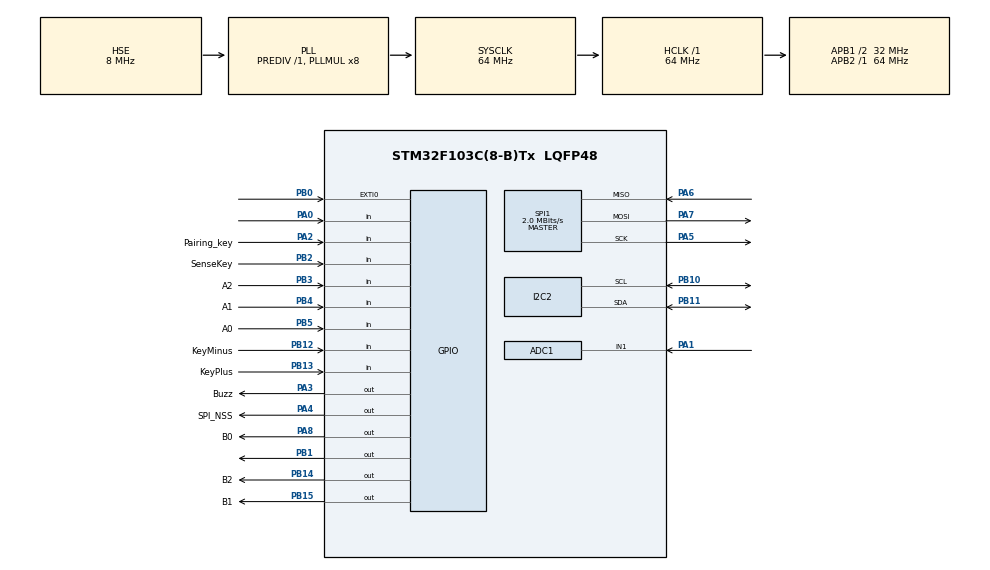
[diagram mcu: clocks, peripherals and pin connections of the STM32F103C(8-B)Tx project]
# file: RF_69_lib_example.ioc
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ADC1.Channel-2\#ChannelRegularConversion=ADC_CHANNEL_1
ADC1.ContinuousConvMode=ENABLE
ADC1.DataAlign=ADC_DATAALIGN_RIGHT
ADC1.DiscontinuousConvMode=DISABLE
ADC1.EnableAnalogWatchDog=false
ADC1.EnableRegularConversion=ENABLE
ADC1.ExternalTrigConv=ADC_SOFTWARE_START
ADC1.InjNumberOfConversion=0
ADC1.NbrOfConversion=1
ADC1.NbrOfConversionFlag=1
ADC1.Rank-2\#ChannelRegularConversion=1
ADC1.SamplingTime-2\#ChannelRegularConversion=ADC_SAMPLETIME_239CYCLES_5
ADC1.ScanConvMode=ADC_SCAN_DISABLE
ADC1.master=1
Dma.ADC1.0.Direction=DMA_PERIPH_TO_MEMORY
Dma.ADC1.0.Instance=DMA1_Channel1
Dma.ADC1.0.MemDataAlignment=DMA_MDATAALIGN_WORD
Dma.ADC1.0.MemInc=DMA_MINC_ENABLE
Dma.ADC1.0.Mode=DMA_CIRCULAR
Dma.ADC1.0.PeriphDataAlignment=DMA_PDATAALIGN_WORD
Dma.ADC1.0.PeriphInc=DMA_PINC_DISABLE
Dma.ADC1.0.Priority=DMA_PRIORITY_LOW
Dma.Request0=ADC1
Mcu.Family=STM32F1
Mcu.Name=STM32F103C(8-B)Tx
Mcu.Package=LQFP48
NVIC.DMA1_Channel1_IRQn=true\:0\:0\:false\:false\:true\:false
NVIC.EXTI0_IRQn=true\:0\:0\:false\:true\:true\:1\:true
NVIC.PriorityGroup=NVIC_PRIORITYGROUP_4
NVIC.SPI1_IRQn=true\:0\:0\:false\:false\:true\:true
PA0-WKUP.Signal=GPIO_Input
PA1.Signal=ADCx_IN1
PA13.Mode=Serial_Wire
PA13.Signal=SYS_JTMS-SWDIO
PA14.Mode=Serial_Wire
PA14.Signal=SYS_JTCK-SWCLK
PA2.GPIO_Label=Pairing_key
PA2.GPIO_PuPd=GPIO_PULLDOWN
PA2.Signal=GPIO_Input
PA3.GPIO_Label=Buzz
PA3.Signal=GPIO_Output
PA4.GPIO_Label=SPI_NSS
PA4.Signal=GPIO_Output
PA5.Mode=Full_Duplex_Master
PA5.Signal=SPI1_SCK
PA6.Mode=Full_Duplex_Master
PA6.Signal=SPI1_MISO
PA7.Mode=Full_Duplex_Master
PA7.Signal=SPI1_MOSI
PA8.GPIO_Label=B0
PA8.Signal=GPIO_Output
PB0.GPIO_ModeDefaultEXTI=GPIO_MODE_IT_RISING
PB0.GPIO_PuPd=GPIO_NOPULL
PB0.Signal=GPXTI0
PB1.Signal=GPIO_Output
PB10.Mode=I2C
PB10.Signal=I2C2_SCL
PB11.Mode=I2C
PB11.Signal=I2C2_SDA
PB12.GPIO_Label=KeyMinus
PB12.GPIO_PuPd=GPIO_PULLDOWN
PB12.Signal=GPIO_Input
PB13.GPIO_Label=KeyPlus
PB13.GPIO_PuPd=GPIO_PULLDOWN
PB13.Signal=GPIO_Input
PB14.GPIO_Label=B2
PB14.Signal=GPIO_Output
PB15.GPIO_Label=B1
PB15.Signal=GPIO_Output
PB2.GPIO_Label=SenseKey
PB2.GPIO_PuPd=GPIO_PULLDOWN
PB2.Signal=GPIO_Input
PB3.GPIO_Label=A2
PB3.GPIO_PuPd=GPIO_PULLDOWN
PB3.Signal=GPIO_Input
PB4.GPIO_Label=A1
PB4.GPIO_PuPd=GPIO_PULLDOWN
PB4.Signal=GPIO_Input
PB5.GPIO_Label=A0
PB5.GPIO_PuPd=GPIO_PULLDOWN
PB5.Signal=GPIO_Input
PD0-OSC_IN.Mode=HSE-External-Oscillator
PD0-OSC_IN.Signal=RCC_OSC_IN
PD1-OSC_OUT.Mode=HSE-External-Oscillator
PD1-OSC_OUT.Signal=RCC_OSC_OUT
ProjectManager.HeapSize=0x200
ProjectManager.StackSize=0x400
ProjectManager.TargetToolchain=SW4STM32
RCC.ADCPresc=RCC_ADCPCLK2_DIV6
RCC.AHBFreq_Value=64000000
RCC.APB1CLKDivider=RCC_HCLK_DIV2
RCC.APB1Freq_Value=32000000
RCC.APB1TimFreq_Value=64000000
RCC.APB2Freq_Value=64000000
RCC.APB2TimFreq_Value=64000000
RCC.EnbaleCSS=true
RCC.HCLKFreq_Value=64000000
RCC.HSICalibrationValue=8
RCC.PLLMUL=RCC_PLL_MUL8
RCC.PLLSourceVirtual=RCC_PLLSOURCE_HSE
RCC.SYSCLKFreq_VALUE=64000000
RCC.SYSCLKSource=RCC_SYSCLKSOURCE_PLLCLK
RCC.USBFreq_Value=64000000
SH.ADCx_IN1.0=ADC1_IN1,IN1
SPI1.BaudRatePrescaler=SPI_BAUDRATEPRESCALER_32
SPI1.CalculateBaudRate=2.0 MBits/s
SPI1.Direction=SPI_DIRECTION_2LINES
SPI1.Mode=SPI_MODE_MASTER
SPI1.VirtualType=VM_MASTER
board=custom

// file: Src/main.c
/**
  ******************************************************************************
  * @file           : main.c
  * @brief          : Main program body
  ******************************************************************************
  ** This notice applies to any and all portions of this file
  * that are not between comment pairs USER CODE BEGIN and
  * USER CODE END. Other portions of this file, whether
  * inserted by the user or by software development tools
  * are owned by their respective copyright owners.
  *
  * COPYRIGHT(c) 2020 STMicroelectronics
  *
  * Redistribution and use in source and binary forms, with or without modification,
  * are permitted provided that the following conditions are met:
  *   1. Redistributions of source code must retain the above copyright notice,
  *      this list of conditions and the following disclaimer.
  *   2. Redistributions in binary form must reproduce the above copyright notice,
  *      this list of conditions and the following disclaimer in the documentation
  *      and/or other materials provided with the distribution.
  *   3. Neither the name of STMicroelectronics nor the names of its contributors
  *      may be used to endorse or promote products derived from this software
  *      without specific prior written permission.
  *
  * THIS SOFTWARE IS PROVIDED BY THE COPYRIGHT HOLDERS AND CONTRIBUTORS "AS IS"
  * AND ANY EXPRESS OR IMPLIED WARRANTIES, INCLUDING, BUT NOT LIMITED TO, THE
  * IMPLIED WARRANTIES OF MERCHANTABILITY AND FITNESS FOR A PARTICULAR PURPOSE ARE
  * DISCLAIMED. IN NO EVENT SHALL THE COPYRIGHT HOLDER OR CONTRIBUTORS BE LIABLE
  * FOR ANY DIRECT, INDIRECT, INCIDENTAL, SPECIAL, EXEMPLARY, OR CONSEQUENTIAL
  * DAMAGES (INCLUDING, BUT NOT LIMITED TO, PROCUREMENT OF SUBSTITUTE GOODS OR
  * SERVICES; LOSS OF USE, DATA, OR PROFITS; OR BUSINESS INTERRUPTION) HOWEVER
  * CAUSED AND ON ANY THEORY OF LIABILITY, WHETHER IN CONTRACT, STRICT LIABILITY,
  * OR TORT (INCLUDING NEGLIGENCE OR OTHERWISE) ARISING IN ANY WAY OUT OF THE USE
  * OF THIS SOFTWARE, EVEN IF ADVISED OF THE POSSIBILITY OF SUCH DAMAGE.
  *
  ******************************************************************************
  */
#include "main.h"
#include "stm32f1xx_hal.h"

/* USER CODE BEGIN Includes */
#include <RFM69.h>
#include "ssd1306.h"
#include "fonts.h"
#include "fonts3.h"
#include <stdio.h>
#include "I2Cdev.h"
#include "MPU6050.h"
#include "keyboard.h"

#define ENCRYPTKEY	"sampleEncryptKey"

/* USER CODE END Includes */

ADC_HandleTypeDef hadc1;
DMA_HandleTypeDef hdma_adc1;

I2C_HandleTypeDef hi2c2;

SPI_HandleTypeDef hspi1;

/* USER CODE BEGIN PV */
/* Private variables ---------------------------------------------------------*/

char command_p[10]={"CM:"};
char id_p[10]={"id:"};
char status_p[10]={"st:"};
char remote_command_p[10]={"RC:"};
char data_power_p[11]={"V:"};
char data_1_p[10]={"Temp:"};
char data_2_p[10]={"Pres:"};
char data_3_p[10]={"Humi:"};
char data_4_p[10]={"RSSI:"};

typedef struct{
	uint8_t command;
	uint8_t id;
	uint8_t status;
	uint16_t remote_command;
	int16_t data_power;
	int16_t data_1;
	int16_t data_2;
	int16_t data_3;
	int16_t data_4;
}Data;

Data theData;
Data DataRecive;

enum screen
{
	screen_1,
	screen_2,
	screen_3,
};

uint8_t active_screen=0;

uint8_t key_num=0;

int16_t A_X=0;
int16_t A_Y=0;
int16_t A_Z=0;
int16_t G_X=0;
int16_t G_Y=0;
int16_t G_Z=0;

const uint8_t NODEID = 99;

uint32_t adc_buffer;
uint32_t time=0;

uint8_t time_vbat=10;

char A_x[15];
char A_y[15];
char A_z[15];

//extern  uint8_t data[61];
uint8_t* pdata;
int8_t datarecive[61];
uint8_t len=0;

float v_bat;

volatile int32_t timeResivMs=0;
char printRSSI_T[20]={0};
char printCounter[20]={0};
char printTemp[20]={0};
char printDelay[20]={0};
char v_bat_print[6]={0};

char rssi2_print[20]={0};

volatile uint16_t rssi_vaue=0;

bool clear_lcd=true;

uint16_t tick=0;

volatile int16_t rssi2;
volatile int16_t rssi_pos;

volatile int16_t rssi_data[200]={61};

uint16_t rssi_counter=0;

typedef struct {
  uint16_t           a_x;
  uint16_t			 a_y;
  uint16_t        	 a_z;
} Transmit;

Transmit Value;

bool timer_ON=true;
bool timer_ON_state=false;

//extern  uint8_t datalen;
/* USER CODE END PV */

void SystemClock_Config(void);
static void MX_GPIO_Init(void);
static void MX_DMA_Init(void);
static void MX_SPI1_Init(void);
static void MX_I2C2_Init(void);
static void MX_ADC1_Init(void);
static void MX_NVIC_Init(void);

/* USER CODE BEGIN PFP */
/* Private function prototypes -----------------------------------------------*/

long map (long x , long in_min , long in_max , long out_min , long out_max) {
	if ( x < in_min )
		return out_min;

	if ( x > in_max )
		return out_max;

	return ( x - in_min ) * ( out_max - out_min ) / ( in_max - in_min ) + out_min;
}

/* USER CODE END PFP */

int main(void)
{

  /* MCU Configuration----------------------------------------------------------*/

  /* Reset of all peripherals, Initializes the Flash interface and the Systick. */
  HAL_Init();

  /* USER CODE BEGIN Init */
	PWR->CSR |= PWR_CSR_EWUP;
  /* USER CODE END Init */

  /* Configure the system clock */
  SystemClock_Config();

  /* Initialize all configured peripherals */
  MX_GPIO_Init();
  MX_DMA_Init();
  MX_SPI1_Init();
  MX_I2C2_Init();
  MX_ADC1_Init();

  /* Initialize interrupts */
  MX_NVIC_Init();
  /* USER CODE BEGIN 2 */
	HAL_GPIO_WritePin (GPIOB , GPIO_PIN_1 , GPIO_PIN_SET);
	I2Cdev_init (&hi2c2);
	HAL_ADC_Start_DMA (&hadc1 , &adc_buffer , 1);
	HAL_Delay (10);
	MPU6050_initialize ();
  MPU6050_setIntDMPEnabled(true);
  MPU6050_setAccelerometerPowerOnDelay(3);
  MPU6050_setIntMotionEnabled(1);
  MPU6050_setMotionDetectionThreshold(2);
  MPU6050_setMotionDetectionDuration(5);
  MPU6050_setZeroMotionDetectionThreshold(54);
  MPU6050_setZeroMotionDetectionDuration(52);
	MPU6050_setStandbyXGyroEnabled (false);
	MPU6050_setStandbyYGyroEnabled (false);
	MPU6050_setStandbyZGyroEnabled (false);
	MPU6050_setStandbyXAccelEnabled (false);
	MPU6050_setStandbyYAccelEnabled (false);
	MPU6050_setStandbyZAccelEnabled (false);

	ssd1306_Init ();
	// ws28xx_init();
	HAL_Delay (50);
	RFM69_initialize (RF69_433MHZ , NODEID , 100);
	RFM69_listen (false);
	RFM69_initialize_listen ();
	RFM69_encrypt (ENCRYPTKEY);
	RFM69_promiscuous (true);
	RFM69_setPowerLevel (31);
	// RFM69_sleep();
	RFM69_receiveBegin ();
	uint32_t time_gyro = HAL_GetTick();
	//RF_DONE();
	HAL_Delay (200);

  /* USER CODE END 2 */

  /* Infinite loop */
  /* USER CODE BEGIN WHILE */
	while ( 1 ) {

		if ( timer_ON == true ) {
			time ++;
			timer_ON_state = false;
		}

		time_vbat ++;

		key_num = Read_keyboard ();

		if (HAL_GetTick() - time_gyro > 200) {
      MPU6050_getMotion6(&A_X, &A_Y, &A_Z, &G_X, &G_Y, &G_Z);
      time_gyro = 0;
    }

		if ( RFM69_receiveDone ()) {
			rssi2 = RFM69_readRSSI2 ();
			rssi_pos = rssi2;
			//rssi_pos=~rssi_pos+1;
			pdata = RFM69_receive (&len);
			for ( int i = 0 ; i < len ; i ++ )
				datarecive[ i ] = (( char )pdata[ i ] );
			DataRecive = *( Data * )datarecive;
			sprintf (command_p , "CM:%d" , DataRecive.command);
			sprintf (id_p , "id:%d" , DataRecive.id);
			sprintf (status_p , "st:%d" , DataRecive.status);
			sprintf (remote_command_p , "RC:%d" , DataRecive.remote_command);
			sprintf (data_power_p , "V:%.2fV" , ( DataRecive.data_power / 100.0 ));
			sprintf (data_1_p , "Temp:%d" , DataRecive.data_1);
			sprintf (data_2_p , "Pres:%d" , DataRecive.data_2);
			sprintf (data_3_p , "Humi:%d" , DataRecive.data_3);
			sprintf (data_4_p , "RSSI:%d" , DataRecive.data_4);

			sprintf (rssi2_print , "R:%d" , rssi2);
			//RFM69_sleep();
			rssi_vaue = map (rssi_pos , - 99 , - 28 , 3 , 61);
			rssi_data[ rssi_counter ] = rssi_vaue;
			rssi_counter += 5;
			if (rssi_counter > 60)
        rssi_counter = 0;

		}

		if ( clear_lcd == true ) {
			SSD1306_DrawFilledRectangle (0 , 0 , 128 , 64 , Black);
			clear_lcd = false;
		}

		if ( active_screen == screen_1 ) {
			clear_lcd = true;
			ssd1306_SetCursor (0 , 0);
			ssd1306_WriteString2 (command_p , Font_7x9 , White);
			ssd1306_SetCursor (0 , 16);
			ssd1306_WriteString2 (id_p , Font_7x9 , White);
			ssd1306_SetCursor (0 , 27);
			ssd1306_WriteString2 (status_p , Font_7x9 , White);
			ssd1306_SetCursor (0 , 38);
			ssd1306_WriteString2 (remote_command_p , Font_7x9 , White);
			ssd1306_SetCursor (0 , 50);
			ssd1306_WriteString2 (data_power_p , Font_7x9 , White);
			ssd1306_SetCursor (60 , 16);
			ssd1306_WriteString2 (data_1_p , Font_7x9 , White);
			ssd1306_SetCursor (60 , 27);
			ssd1306_WriteString2 (data_2_p , Font_7x9 , White);
			ssd1306_SetCursor (60 , 38);
			ssd1306_WriteString2 (data_3_p , Font_7x9 , White);
			ssd1306_SetCursor (60 , 50);
			ssd1306_WriteString2 (data_4_p , Font_7x9 , White);

			ssd1306_SetCursor (40 , 0);
			ssd1306_WriteString2 (rssi2_print , Font_7x9 , White);
		}

		switch ( key_num ) {
			case 4:
				active_screen = screen_2;
				clear_lcd = true;
				break;
			case 1:
				active_screen = screen_1;
				clear_lcd = true;
				break;

		}

		if ( active_screen == screen_2 ) {

			SSD1306_DrawRectangle (1 , 1 , 127 , 63 , White);
			for ( uint8_t i = 0 ; i < 122 ; i += 5 ) {
				SSD1306_DrawLine (125 - i , 61 - rssi_data[ i ] , 125 - i , 61 , White);
				SSD1306_DrawLine (125 - i - 1 , 61 - rssi_data[ i ] , 125 - i - 1 , 61 , White);
				SSD1306_DrawLine (125 - i - 2 , 61 - rssi_data[ i ] , 125 - i - 2 , 61 , White);

			}

			//SSD1306_DrawLine(125-rssi_counter,61-rssi_vaue,125-rssi_counter,61,White);
			ssd1306_SetCursor (5 , 0);
			ssd1306_WriteString (rssi2_print , Font_7x10 , White);

			if ( rssi_counter >= 125 ) {
				rssi_counter = 0;
				SSD1306_DrawFilledRectangle (0 , 0 , 128 , 64 , Black);
				for ( uint8_t i = 0 ; i < sizeof (rssi_data) ; i ++ )
					rssi_data[ i ] = 0;

			}

			//time=0;
		}

		//sprintf(rssi2_print,"RSSI R:%d",rssi2);

//		ssd1306_SetCursor(0,0);
//		ssd1306_WriteString(rssi2_print,Font_7x10,White);
//	//	ssd1306_WriteString(printTemp,Font_7x10,White);
//		ssd1306_SetCursor(0,16);
//		ssd1306_WriteString(printRSSI_T,Font_7x10,White);
//		ssd1306_SetCursor(0,30);
//		ssd1306_WriteString(printCounter,Font_7x10,White);
//		ssd1306_SetCursor(0,45);
//		ssd1306_WriteString(printTemp,Font_7x10,White);

//		ssd1306_SetCursor(60,16);
//		ssd1306_WriteString(A_x,Font_7x10,White);
//		ssd1306_SetCursor(60,30);
//		ssd1306_WriteString(A_y,Font_7x10,White);
//		ssd1306_SetCursor(60,0);
//		ssd1306_WriteString(printRSSI_T,Font_7x10,White);

		ssd1306_SetCursor (90 , 0);
		ssd1306_WriteString (v_bat_print , Font_7x10 , White);

		if ( HAL_GPIO_ReadPin (GPIOB , GPIO_PIN_2)) {
			time = 0;
			ssd1306_SetCursor (100 , 45);
			ssd1306_WriteString ("S" , Font_7x10 , White);
			theData.command = 0;
			theData.id = 2;
			theData.data_power = v_bat * 100;
			theData.remote_command = map (A_X , - 12000 , 12000 , 3000 , 0);
			RFM69_send (100 , ( const void * )( &theData ) , sizeof (theData) , true);
		}

		//--------------------------------------------------------------------------------

		if ( HAL_GPIO_ReadPin (GPIOA , GPIO_PIN_2)) {

			SSD1306_DrawFilledRectangle (0 , 0 , 128 , 64 , Black);
			ssd1306_SetCursor (0 , 0);
			if ( timer_ON == false ) {
				ssd1306_WriteString ("timer On" , Font_7x10 , White);
				timer_ON = true;
			} else {
				ssd1306_WriteString ("timer Off" , Font_7x10 , White);
				timer_ON = false;
			}
			HAL_Delay (80);
			time = 0;
			ssd1306_UpdateScreen ();
			if ( active_screen == screen_2 )
				SSD1306_DrawFilledRectangle (0 , 0 , 128 , 64 , Black);

		} else
			timer_ON_state = false;

//---------------------------------------------------------------------------------

		if ( HAL_GPIO_ReadPin (GPIOB , GPIO_PIN_12)) {
			time = 0;
			ssd1306_SetCursor (100 , 45);
			ssd1306_WriteString ("+" , Font_7x10 , White);
			theData.command = 0;
			theData.id = 2;
			theData.remote_command = 3000;
			theData.data_power = v_bat * 100.0;
			theData.status = 0;
			//	RFM69_listen(false);
			RFM69_send (100 , ( const void * )( &theData ) , sizeof (theData) , true);
			//	RFM69_listen(true);
		}

		if ( HAL_GPIO_ReadPin (GPIOB , GPIO_PIN_13)) {
			time = 0;
			ssd1306_SetCursor (100 , 45);
			ssd1306_WriteString ("-" , Font_7x10 , White);
			theData.command = 0;
			theData.id = 2;
			theData.remote_command = 0;
			theData.data_power = v_bat * 100.0;
			theData.status = 1;
			//	RFM69_listen(false);
			RFM69_send (100 , ( const void * )( &theData ) , sizeof (theData) , true);
			//	RFM69_listen(true);
		}

		if ( HAL_GPIO_ReadPin (GPIOA , GPIO_PIN_0)) {
			time = 0;
			ssd1306_SetCursor (100 , 45);
			//ssd1306_WriteString("K",Font_7x10,White);

		}

		if ( key_num > 0 ) {
			char key_numP[10] = { 0 };
			sprintf (key_numP , "%u" , key_num);
			ssd1306_SetCursor (100 , 45);
			ssd1306_WriteString (key_numP , Font_7x10 , White);
		}

		ssd1306_UpdateScreen ();

		if ( time_vbat > 10 ) {
			float v_bat_temp;
			v_bat_temp = ( float )(( adc_buffer * 3.33 ) / 4095.0 );
			v_bat = ( float )( v_bat_temp / ( 100000.0 / ( 100000.0 + 33000.0 )));
			sprintf (v_bat_print , "%.2fV" , v_bat);
			time_vbat = 0;
		}

		if ( time > 200 ) {
      //RFM69_sleep();
			MPU6050_setIntDMPEnabled (true);
			MPU6050_setAccelerometerPowerOnDelay (3);
			MPU6050_setIntMotionEnabled (1);
			MPU6050_setMotionDetectionThreshold (2);
			MPU6050_setMotionDetectionDuration (5);
			MPU6050_setZeroMotionDetectionThreshold (54);
			MPU6050_setZeroMotionDetectionDuration (52);
			MPU6050_setStandbyXGyroEnabled (true);
			MPU6050_setStandbyYGyroEnabled (true);
			MPU6050_setStandbyZGyroEnabled (true);
			MPU6050_setStandbyXAccelEnabled(true);
			MPU6050_setStandbyYAccelEnabled(true);
			MPU6050_setStandbyZAccelEnabled(true);
      HAL_Delay (100);
			SSD1306_OFF ();
			HAL_Delay (100);

			//RFM69_sleep();
			//HAL_GPIO_WritePin(GPIOB,GPIO_PIN_1,GPIO_PIN_RESET);
      PWR->CSR |= PWR_CSR_EWUP;
      PWR->CSR |= PWR_CSR_WUF;
      PWR->CR |= PWR_CR_CWUF;
      PWR->CR = PWR_CR_PDDS | PWR_CR_CWUF;
			HAL_PWR_EnterSTANDBYMode ();

			// PWR->CR &= ~PWR_CR_PDDS;
			// PWR->CR |= PWR_CR_LPDS;

		}

  /* USER CODE END WHILE */

  }

}

void SystemClock_Config(void)
{

  RCC_OscInitTypeDef RCC_OscInitStruct;
  RCC_ClkInitTypeDef RCC_ClkInitStruct;
  RCC_PeriphCLKInitTypeDef PeriphClkInit;

    /**Initializes the CPU, AHB and APB busses clocks
    */
  RCC_OscInitStruct.OscillatorType = RCC_OSCILLATORTYPE_HSE;
  RCC_OscInitStruct.HSEState = RCC_HSE_ON;
  RCC_OscInitStruct.HSEPredivValue = RCC_HSE_PREDIV_DIV1;
  RCC_OscInitStruct.HSIState = RCC_HSI_ON;
  RCC_OscInitStruct.PLL.PLLState = RCC_PLL_ON;
  RCC_OscInitStruct.PLL.PLLSource = RCC_PLLSOURCE_HSE;
  RCC_OscInitStruct.PLL.PLLMUL = RCC_PLL_MUL8;
  if (HAL_RCC_OscConfig(&RCC_OscInitStruct) != HAL_OK)
  {
    _Error_Handler(__FILE__, __LINE__);
  }

    /**Initializes the CPU, AHB and APB busses clocks
    */
  RCC_ClkInitStruct.ClockType = RCC_CLOCKTYPE_HCLK|RCC_CLOCKTYPE_SYSCLK
                              |RCC_CLOCKTYPE_PCLK1|RCC_CLOCKTYPE_PCLK2;
  RCC_ClkInitStruct.SYSCLKSource = RCC_SYSCLKSOURCE_PLLCLK;
  RCC_ClkInitStruct.AHBCLKDivider = RCC_SYSCLK_DIV1;
  RCC_ClkInitStruct.APB1CLKDivider = RCC_HCLK_DIV2;
  RCC_ClkInitStruct.APB2CLKDivider = RCC_HCLK_DIV1;

  if (HAL_RCC_ClockConfig(&RCC_ClkInitStruct, FLASH_LATENCY_2) != HAL_OK)
  {
    _Error_Handler(__FILE__, __LINE__);
  }

  PeriphClkInit.PeriphClockSelection = RCC_PERIPHCLK_ADC;
  PeriphClkInit.AdcClockSelection = RCC_ADCPCLK2_DIV6;
  if (HAL_RCCEx_PeriphCLKConfig(&PeriphClkInit) != HAL_OK)
  {
    _Error_Handler(__FILE__, __LINE__);
  }

    /**Enables the Clock Security System
    */
  HAL_RCC_EnableCSS();

    /**Configure the Systick interrupt time
    */
  HAL_SYSTICK_Config(HAL_RCC_GetHCLKFreq()/1000);

    /**Configure the Systick
    */
  HAL_SYSTICK_CLKSourceConfig(SYSTICK_CLKSOURCE_HCLK);

  /* SysTick_IRQn interrupt configuration */
  HAL_NVIC_SetPriority(SysTick_IRQn, 0, 0);
}

/**
  * @brief NVIC Configuration.
  * @retval None
  */
static void MX_NVIC_Init(void)
{
  /* EXTI0_IRQn interrupt configuration */
  HAL_NVIC_SetPriority(EXTI0_IRQn, 0, 0);
  HAL_NVIC_EnableIRQ(EXTI0_IRQn);
}

/* ADC1 init function */
static void MX_ADC1_Init(void)
{

  ADC_ChannelConfTypeDef sConfig;

    /**Common config
    */
  hadc1.Instance = ADC1;
  hadc1.Init.ScanConvMode = ADC_SCAN_DISABLE;
  hadc1.Init.ContinuousConvMode = ENABLE;
  hadc1.Init.DiscontinuousConvMode = DISABLE;
  hadc1.Init.ExternalTrigConv = ADC_SOFTWARE_START;
  hadc1.Init.DataAlign = ADC_DATAALIGN_RIGHT;
  hadc1.Init.NbrOfConversion = 1;
  if (HAL_ADC_Init(&hadc1) != HAL_OK)
  {
    _Error_Handler(__FILE__, __LINE__);
  }

    /**Configure Regular Channel
    */
  sConfig.Channel = ADC_CHANNEL_1;
  sConfig.Rank = ADC_REGULAR_RANK_1;
  sConfig.SamplingTime = ADC_SAMPLETIME_239CYCLES_5;
  if (HAL_ADC_ConfigChannel(&hadc1, &sConfig) != HAL_OK)
  {
    _Error_Handler(__FILE__, __LINE__);
  }

}

/* I2C2 init function */
static void MX_I2C2_Init(void)
{

  hi2c2.Instance = I2C2;
  hi2c2.Init.ClockSpeed = 100000;
  hi2c2.Init.DutyCycle = I2C_DUTYCYCLE_2;
  hi2c2.Init.OwnAddress1 = 0;
  hi2c2.Init.AddressingMode = I2C_ADDRESSINGMODE_7BIT;
  hi2c2.Init.DualAddressMode = I2C_DUALADDRESS_DISABLE;
  hi2c2.Init.OwnAddress2 = 0;
  hi2c2.Init.GeneralCallMode = I2C_GENERALCALL_DISABLE;
  hi2c2.Init.NoStretchMode = I2C_NOSTRETCH_DISABLE;
  if (HAL_I2C_Init(&hi2c2) != HAL_OK)
  {
    _Error_Handler(__FILE__, __LINE__);
  }

}

/* SPI1 init function */
static void MX_SPI1_Init(void)
{

  /* SPI1 parameter configuration*/
  hspi1.Instance = SPI1;
  hspi1.Init.Mode = SPI_MODE_MASTER;
  hspi1.Init.Direction = SPI_DIRECTION_2LINES;
  hspi1.Init.DataSize = SPI_DATASIZE_8BIT;
  hspi1.Init.CLKPolarity = SPI_POLARITY_LOW;
  hspi1.Init.CLKPhase = SPI_PHASE_1EDGE;
  hspi1.Init.NSS = SPI_NSS_SOFT;
  hspi1.Init.BaudRatePrescaler = SPI_BAUDRATEPRESCALER_32;
  hspi1.Init.FirstBit = SPI_FIRSTBIT_MSB;
  hspi1.Init.TIMode = SPI_TIMODE_DISABLE;
  hspi1.Init.CRCCalculation = SPI_CRCCALCULATION_DISABLE;
  hspi1.Init.CRCPolynomial = 10;
  if (HAL_SPI_Init(&hspi1) != HAL_OK)
  {
    _Error_Handler(__FILE__, __LINE__);
  }

}

static void MX_DMA_Init(void)
{
  /* DMA controller clock enable */
  __HAL_RCC_DMA1_CLK_ENABLE();

  /* DMA interrupt init */
  /* DMA1_Channel1_IRQn interrupt configuration */
  HAL_NVIC_SetPriority(DMA1_Channel1_IRQn, 0, 0);
  HAL_NVIC_EnableIRQ(DMA1_Channel1_IRQn);

}

/** Configure pins as
        * Analog
        * Input
        * Output
        * EVENT_OUT
        * EXTI
*/
static void MX_GPIO_Init(void)
{

  GPIO_InitTypeDef GPIO_InitStruct;

  /* GPIO Ports Clock Enable */
  __HAL_RCC_GPIOD_CLK_ENABLE();
  __HAL_RCC_GPIOA_CLK_ENABLE();
  __HAL_RCC_GPIOB_CLK_ENABLE();

  /*Configure GPIO pin Output Level */
  HAL_GPIO_WritePin(GPIOA, Buzz_Pin|SPI_NSS_Pin|B0_Pin, GPIO_PIN_RESET);

  /*Configure GPIO pin Output Level */
  HAL_GPIO_WritePin(GPIOB, GPIO_PIN_1|B2_Pin|B1_Pin, GPIO_PIN_RESET);

  /*Configure GPIO pin : PA0 */
  GPIO_InitStruct.Pin = GPIO_PIN_0;
  GPIO_InitStruct.Mode = GPIO_MODE_INPUT;
  GPIO_InitStruct.Pull = GPIO_NOPULL;
  HAL_GPIO_Init(GPIOA, &GPIO_InitStruct);

  /*Configure GPIO pin : Pairing_key_Pin */
  GPIO_InitStruct.Pin = Pairing_key_Pin;
  GPIO_InitStruct.Mode = GPIO_MODE_INPUT;
  GPIO_InitStruct.Pull = GPIO_PULLDOWN;
  HAL_GPIO_Init(Pairing_key_GPIO_Port, &GPIO_InitStruct);

  /*Configure GPIO pins : Buzz_Pin SPI_NSS_Pin B0_Pin */
  GPIO_InitStruct.Pin = Buzz_Pin|SPI_NSS_Pin|B0_Pin;
  GPIO_InitStruct.Mode = GPIO_MODE_OUTPUT_PP;
  GPIO_InitStruct.Pull = GPIO_NOPULL;
  GPIO_InitStruct.Speed = GPIO_SPEED_FREQ_LOW;
  HAL_GPIO_Init(GPIOA, &GPIO_InitStruct);

  /*Configure GPIO pin : PB0 */
  GPIO_InitStruct.Pin = GPIO_PIN_0;
  GPIO_InitStruct.Mode = GPIO_MODE_IT_RISING;
  GPIO_InitStruct.Pull = GPIO_NOPULL;
  HAL_GPIO_Init(GPIOB, &GPIO_InitStruct);

  /*Configure GPIO pins : PB1 B2_Pin B1_Pin */
  GPIO_InitStruct.Pin = GPIO_PIN_1|B2_Pin|B1_Pin;
  GPIO_InitStruct.Mode = GPIO_MODE_OUTPUT_PP;
  GPIO_InitStruct.Pull = GPIO_NOPULL;
  GPIO_InitStruct.Speed = GPIO_SPEED_FREQ_LOW;
  HAL_GPIO_Init(GPIOB, &GPIO_InitStruct);

  /*Configure GPIO pins : SenseKey_Pin KeyMinus_Pin KeyPlus_Pin A2_Pin
                           A1_Pin A0_Pin */
  GPIO_InitStruct.Pin = SenseKey_Pin|KeyMinus_Pin|KeyPlus_Pin|A2_Pin
                          |A1_Pin|A0_Pin;
  GPIO_InitStruct.Mode = GPIO_MODE_INPUT;
  GPIO_InitStruct.Pull = GPIO_PULLDOWN;
  HAL_GPIO_Init(GPIOB, &GPIO_InitStruct);

}

void _Error_Handler(char *file, int line)
{
  while(1)
  {
  }
}

/************************ (C) COPYRIGHT STMicroelectronics *****END OF FILE****/
